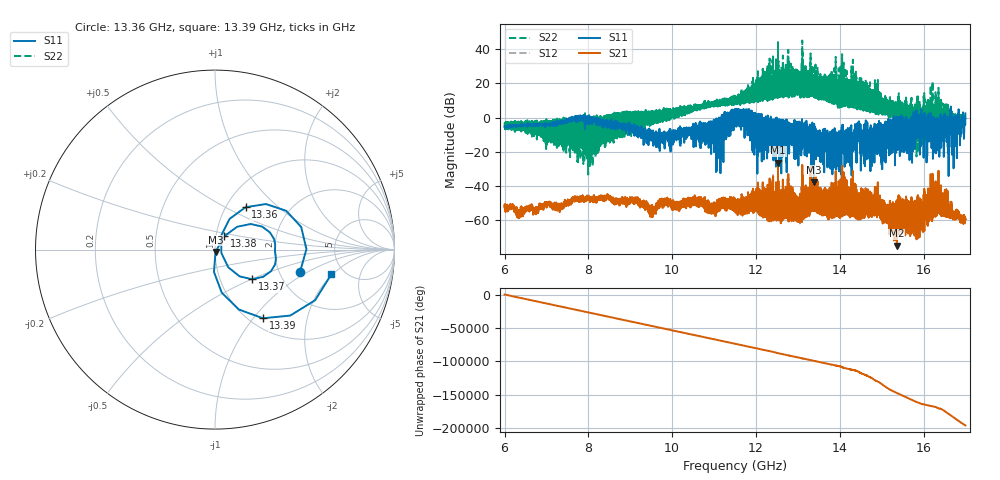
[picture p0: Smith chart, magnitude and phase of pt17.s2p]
#  HZ  S  RI  R  50.00
! Rohde & Schwarz Vector Network Analyzer
! Rohde-Schwarz,ZNA67-2Port,1332450062101215,3.01
! Created: UTC 10/15/2026, 2:24:22 PM
! freq[Hz]  re:S11  im:S11  re:S21  im:S21  re:S12  im:S12  re:S22  im:S22
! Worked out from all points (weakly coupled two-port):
!   11001 points, 6 GHz to 17 GHz, reference 50 ohm
!   highest |S21| = -26.29 dB at 12.53 GHz (marker M1); lowest = -74.7 dB at 15.37 GHz (marker M2)
!   lowest |S11| = -37.7 dB at 13.38 GHz (marker M3), VSWR 1.03, Z = 50.3 - j1.28 ohm
!   |S11| at or under -10 dB: 9.82904 GHz to 9.869928 GHz (40.89 MHz wide, 0.415 % of centre); 13.71987 GHz to 13.76967 GHz (49.8 MHz wide, 0.362 % of centre); 14.08098 GHz to 14.12767 GHz (46.69 MHz wide, 0.331 % of centre) (the widest 3 of 486)
!   |S22| runs from -33.2 to 45.1 dB; largest |S21 - S12| = 0.0018
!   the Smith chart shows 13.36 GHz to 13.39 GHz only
!   S11 on the Smith chart (normalised r, x): 13.36 GHz: 2.60, -0.85; 13.36 GHz: 1.23, +0.63; 13.37 GHz: 1.42, -0.50; 13.38 GHz: 1.10, +0.17; 13.39 GHz: 1.14, -1.12; 13.39 GHz: 3.93, -1.93
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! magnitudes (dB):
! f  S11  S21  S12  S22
! 6 GHz  -5.3  -51.0  -51.0  -5.7
! 6.345 GHz  -4.6  -56.7  -56.7  -2.8
! 7.834 GHz  -0.5  -47.6  -47.4  -4.9
! 9.667 GHz  -10.5  -52.7  -52.8  0.0
! 11.05 GHz  -0.4  -51.9  -52.0  8.2
! 11.5 GHz  4.7  -53.7  -53.6  9.0
! 12.53 GHz  -7.3  -26.3  -26.3  44.2
! 13.02 GHz  -10.8  -48.1  -47.6  27.0
! 13.33 GHz  -6.4  -51.1  -51.2  15.6
! 13.36 GHz  -6.2  -47.1  -47.2  19.5
! 13.36 GHz  -10.7  -50.1  -50.2  16.6
! 13.37 GHz  -11.5  -50.2  -50.2  18.3
! 13.38 GHz  -20.8  -52.0  -52.0  14.7
! 13.38 GHz  -37.7  -54.4  -54.4  12.6
! 13.39 GHz  -6.6  -36.9  -36.8  29.4
! 13.39 GHz  -3.6  -53.6  -53.9  12.2
! 13.89 GHz  -8.1  -55.7  -55.5  10.0
! 14.89 GHz  -7.4  -58.1  -58.0  2.9
! 15.17 GHz  -9.7  -53.0  -52.0  10.5
! 15.37 GHz  -10.2  -74.7  -75.0  -0.2
! 16.37 GHz  -4.0  -54.3  -54.8  -9.9
! 17 GHz  2.5  -59.3  -59.1  0.0
